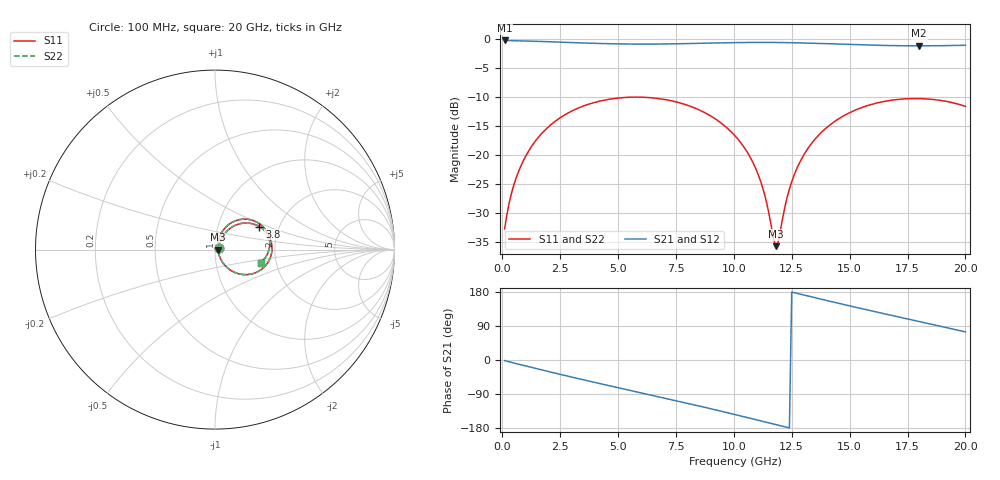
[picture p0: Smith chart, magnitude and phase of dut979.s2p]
! Touchstone file exported from HFSS 2026.1.0
!  File:  C:/ffzhzh/LocalFiles/Ansys_Project_Files/temp_train_TSV_RDL_979_1783286689_30076.aedt
!  Generated:  05:33:09 AM Jul  6, 2026
!  Design:  TSV_RDL
!  Project:  temp_train_TSV_RDL_979_1783286689_30076
! Variables:
!  h_bsmrdl = 4.76um
!  h_ox = 20um
!  h_rdl = 5um
!  h_sub = 59.23um
!  h_tmrdl = 3.45um
!  h_tsv = 59.23um
!  h_via = 3um
!  l_bsmrdl = 900.72um
!  l_sub = 5014.2um
!  l_tmrdl = 447.44um
!  m_sub = 200um
!  pitch = 34.01um
!  r_tsv = 10.53um
!  s_tmrdl = 10um
!  w_bsmrdl = 22.01um
!  w_sub = 500um
!  w_tmrdl = 18.75um
!  x_tsv_center1 = 456.815um
!  x_tsv_center2 = 1379.545um
!  x_tsv_center3 = 1845.735um
!  x_tsv_center4 = 2768.465um
!  x_tsv_center5 = 3234.655um
!  x_tsv_center6 = 4157.385um
# GHz S MA R 50.000000
! Terminal data exported
! Port[1] = TM_RDL1_1_T1
! Port[2] = TM_RDL5_1_T1
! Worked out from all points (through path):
!   200 points, 100 MHz to 20 GHz, reference 50 ohm
!   highest |S21| = -0.18 dB at 100 MHz (marker M1); lowest = -1.1 dB at 18 GHz (marker M2)
!   group delay of S21, straight-line fit = 39.7 ps
!   lowest |S11| = -35.7 dB at 11.8 GHz (marker M3), VSWR 1.03, Z = 51.7 - j0.093 ohm
!   |S11| at or under -10 dB: start of sweep to 5.417 GHz; 6.151 GHz to end of sweep
!   |S22| runs from -35.6 to -10.0 dB; largest |S21 - S12| = 1.7e-14
!   S11 on the Smith chart (normalised r, x): 100 MHz: 1.04, +0.02; 3.8 GHz: 1.58, +0.44; 20 GHz: 1.66, -0.26
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0.1  0.02312 27.8  0.9798 -1.7  0.9798 -1.7  0.02312 27.8
! Gamma 0 0 0 0
! Port Impedance 50 0 50 0
0.5  0.0554 55.7  0.9742 -7.9  0.9742 -7.9  0.0554 55.7
1.2  0.1137 57.7  0.9668 -18.6  0.9668 -18.6  0.1137 57.7
2.2  0.1905 47.8  0.9525 -33.5  0.9525 -33.5  0.1905 47.8
3.5  0.2658 31.3  0.9318 -52.3  0.9318 -52.3  0.2658 31.3
3.8  0.2785 27.4  0.9276 -56.5  0.9276 -56.5  0.2785 27.4
5.3  0.3153 8.0  0.9134 -77.1  0.9134 -77.1  0.3153 8.0
6.8  0.3074 -11.3  0.9129 -97.6  0.9129 -97.6  0.3074 -11.3
8.7  0.2355 -35.9  0.9273 -124.2  0.9273 -124.2  0.2355 -35.9
10.1  0.1433 -53.1  0.939 -144.7  0.939 -144.7  0.1433 -53.0
10.7  0.09648 -58.5  0.9418 -153.7  0.9418 -153.7  0.0965 -58.4
11.1  0.0641 -59.4  0.9426 -159.7  0.9426 -159.7  0.06413 -59.2
11.4  0.04008 -54.6  0.9424 -164.2  0.9424 -164.2  0.04014 -54.3
11.8  0.01637 -3.2  0.9413 -170.2  0.9413 -170.2  0.01655 -3.0
11.9  0.01723 24.7  0.9409 -171.7  0.9409 -171.7  0.01742 24.6
12.2  0.0354 62.9  0.9392 -176.2  0.9392 -176.2  0.03551 62.6
12.5  0.05895 69.8  0.9369 179.3  0.9369 179.3  0.05904 69.6
13.4  0.1296 65.7  0.9272 165.9  0.9272 165.9  0.1297 65.6
14.8  0.222 49.3  0.9075 145.6  0.9075 145.6  0.2221 49.2
16.7  0.2961 25.4  0.8855 119.3  0.8855 119.3  0.2962 25.3
18  0.3084 9.1  0.8805 101.7  0.8805 101.7  0.3084 9.1
20  0.2642 -15.9  0.8904 74.2  0.8904 74.2  0.2643 -15.9
